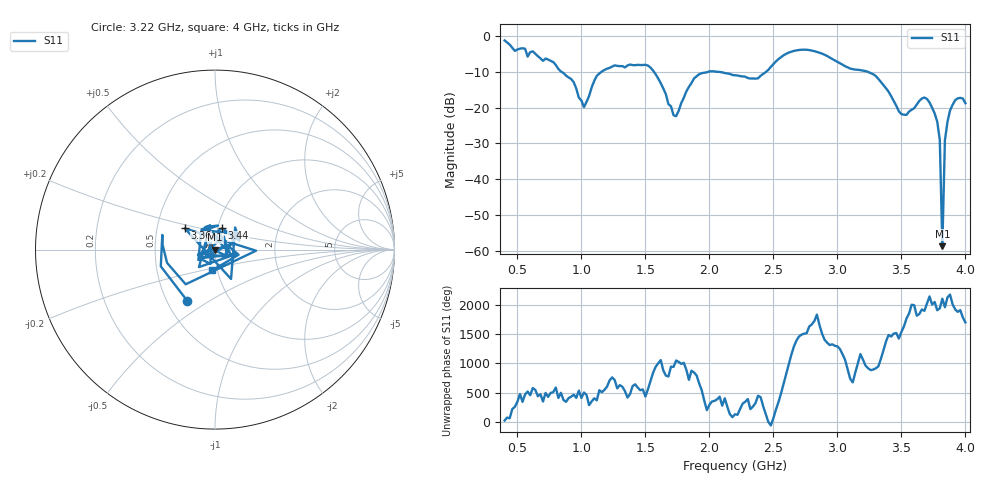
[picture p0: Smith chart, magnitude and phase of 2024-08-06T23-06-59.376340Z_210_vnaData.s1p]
!Created with skrf (http://scikit-rf.org).
# Hz S RI R 50.0
!freq ReS11 ImS11
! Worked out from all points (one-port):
!   181 points, 400 MHz to 4 GHz, reference 50 ohm
!   lowest |S11| = -58.7 dB at 3.82 GHz (marker M1), VSWR 1.00, Z = 50.1 - j0.0908 ohm
!   |S11| at or under -10 dB: 1.567 GHz to 1.988 GHz (421.1 MHz wide, 23.7 % of centre); 2.078 GHz to 2.442 GHz (363.8 MHz wide, 16.1 % of centre); 3.24 GHz to end of sweep (the widest 3 of 4)
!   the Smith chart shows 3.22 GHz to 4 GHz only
!   S11 on the Smith chart (normalised r, x): 3.22 GHz: 0.63, -0.40; 3.36 GHz: 0.69, +0.17; 3.44 GHz: 1.05, +0.25; 4 GHz: 0.95, -0.22
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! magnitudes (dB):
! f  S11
! 400 MHz  -1.2
! 860 MHz  -10.3
! 940 MHz  -12.9
! 1.02 GHz  -19.8
! 1.12 GHz  -11.1
! 1.3 GHz  -8.4
! 1.52 GHz  -8.2
! 1.62 GHz  -13.2
! 1.72 GHz  -22.1
! 1.76 GHz  -20.9
! 1.92 GHz  -10.6
! 2.2 GHz  -10.9
! 2.38 GHz  -11.8
! 2.66 GHz  -4.1
! 3.1 GHz  -9.1
! 3.22 GHz  -9.8
! 3.36 GHz  -13.7
! 3.44 GHz  -18.1
! 3.5 GHz  -21.8
! 3.56 GHz  -21.1
! 3.68 GHz  -17.2
! 3.78 GHz  -23.9
! 3.8 GHz  -29.0
! 3.82 GHz  -58.7
! 3.84 GHz  -29.1
! 3.86 GHz  -24.0
! 3.92 GHz  -17.9
! 4 GHz  -18.8
